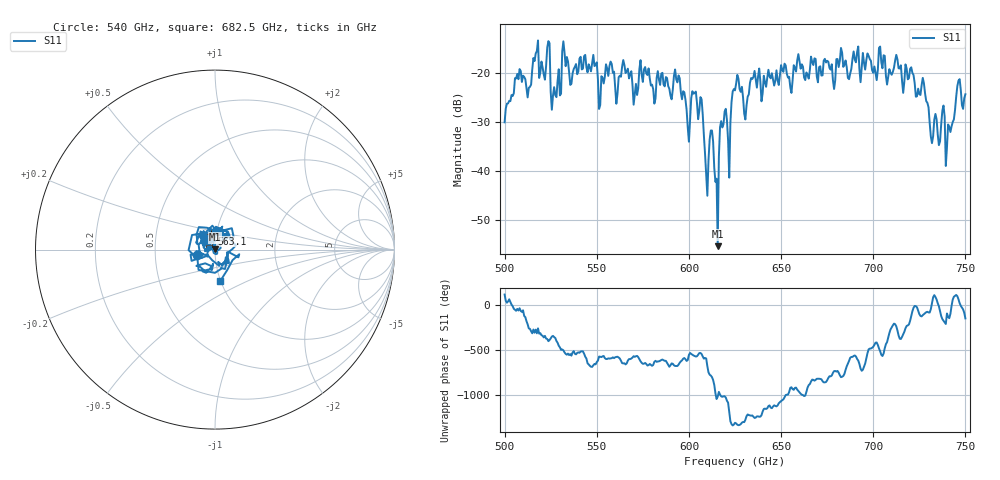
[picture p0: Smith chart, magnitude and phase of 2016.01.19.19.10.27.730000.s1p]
!Created with skrf (http://scikit-rf.org).
# GHz S RI R 50.0
!freq ReS11 ImS11
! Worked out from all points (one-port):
!   401 points, 500 GHz to 750 GHz, reference 50 ohm
!   lowest |S11| = -55.3 dB at 615.6 GHz (marker M1), VSWR 1.00, Z = 50.1 + j0.152 ohm
!   |S11| at or under -10 dB: start of sweep to end of sweep
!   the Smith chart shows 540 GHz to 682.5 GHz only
!   S11 on the Smith chart (normalised r, x): 540 GHz: 0.82, -0.05; 563.1 GHz: 0.95, +0.17; 682.5 GHz: 0.99, -0.36
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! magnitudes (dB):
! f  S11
! 500 GHz  -30.1
! 507.5 GHz  -21.3
! 513.1 GHz  -23.1
! 516.9 GHz  -16.1
! 523.8 GHz  -13.6
! 526.9 GHz  -22.9
! 531.2 GHz  -15.7
! 540 GHz  -19.8
! 562.5 GHz  -20.6
! 563.1 GHz  -20.8
! 593.8 GHz  -22.0
! 599.4 GHz  -31.2
! 606.2 GHz  -25.0
! 609.4 GHz  -40.8
! 611.9 GHz  -31.8
! 615.6 GHz  -55.3
! 618.1 GHz  -31.1
! 621.9 GHz  -41.3
! 625 GHz  -23.6
! 630.6 GHz  -29.5
! 635 GHz  -20.9
! 656.2 GHz  -21.6
! 682.5 GHz  -15.0
! 687.5 GHz  -20.2
! 718.8 GHz  -21.4
! 740.6 GHz  -30.5
! 746.2 GHz  -21.6
! 750 GHz  -24.4
